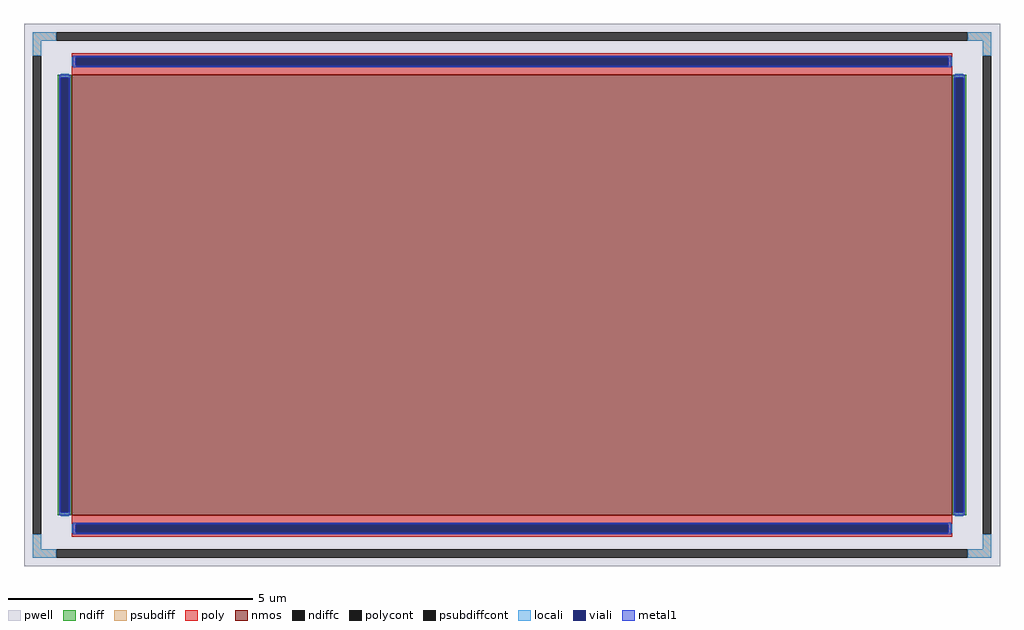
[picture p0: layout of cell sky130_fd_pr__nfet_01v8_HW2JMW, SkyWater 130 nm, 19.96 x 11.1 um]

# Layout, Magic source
magic
tech sky130A
<< pwell >>
rect -998 -555 998 555
<< nmos >>
rect -900 -450 900 450
<< ndiff >>
rect -929 444 -900 450
rect -929 -444 -923 444
rect -906 -444 -900 444
rect -929 -450 -900 -444
rect 900 444 929 450
rect 900 -444 906 444
rect 923 -444 929 444
rect 900 -450 929 -444
<< ndiffc >>
rect -923 -444 -906 444
rect 906 -444 923 444
<< psubdiff >>
rect -980 520 -932 537
rect 932 520 980 537
rect -980 489 -963 520
rect 963 489 980 520
rect -980 -520 -963 -489
rect 963 -520 980 -489
rect -980 -537 -932 -520
rect 932 -537 980 -520
<< psubdiffcont >>
rect -932 520 932 537
rect -980 -489 -963 489
rect 963 -489 980 489
rect -932 -537 932 -520
<< poly >>
rect -900 486 900 494
rect -900 469 -892 486
rect 892 469 900 486
rect -900 450 900 469
rect -900 -469 900 -450
rect -900 -486 -892 -469
rect 892 -486 900 -469
rect -900 -494 900 -486
<< polycont >>
rect -892 469 892 486
rect -892 -486 892 -469
<< locali >>
rect -980 520 -932 537
rect 932 520 980 537
rect -980 489 -963 520
rect 963 489 980 520
rect -900 469 -892 486
rect 892 469 900 486
rect -923 444 -906 452
rect -923 -452 -906 -444
rect 906 444 923 452
rect 906 -452 923 -444
rect -900 -486 -892 -469
rect 892 -486 900 -469
rect -980 -520 -963 -489
rect 963 -520 980 -489
rect -980 -537 -932 -520
rect 932 -537 980 -520
<< viali >>
rect -892 469 892 486
rect -923 -444 -906 444
rect 906 -444 923 444
rect -892 -486 892 -469
<< metal1 >>
rect -898 486 898 489
rect -898 469 -892 486
rect 892 469 898 486
rect -898 466 898 469
rect -926 444 -903 450
rect -926 -444 -923 444
rect -906 -444 -903 444
rect -926 -450 -903 -444
rect 903 444 926 450
rect 903 -444 906 444
rect 923 -444 926 444
rect 903 -450 926 -444
rect -898 -469 898 -466
rect -898 -486 -892 -469
rect 892 -486 898 -469
rect -898 -489 898 -486
<< properties >>
string FIXED_BBOX -971 -528 971 528
string gencell sky130_fd_pr__nfet_01v8
string library sky130
string parameters w 9 l 18 m 1 nf 1 diffcov 100 polycov 100 guard 1 glc 1 grc 1 gtc 1 gbc 1 tbcov 100 rlcov 100 topc 1 botc 1 poverlap 0 doverlap 1 lmin 0.15 wmin 0.42 compatible {sky130_fd_pr__nfet_01v8 sky130_fd_pr__nfet_01v8_lvt  sky130_fd_bs_flash__special_sonosfet_star  sky130_fd_pr__nfet_g5v0d10v5 sky130_fd_pr__nfet_05v0_nvt  sky130_fd_pr__nfet_03v3_nvt} full_metal 1 viasrc 100 viadrn 100 viagate 100 viagb 0 viagr 0 viagl 0 viagt 0
<< end >>
